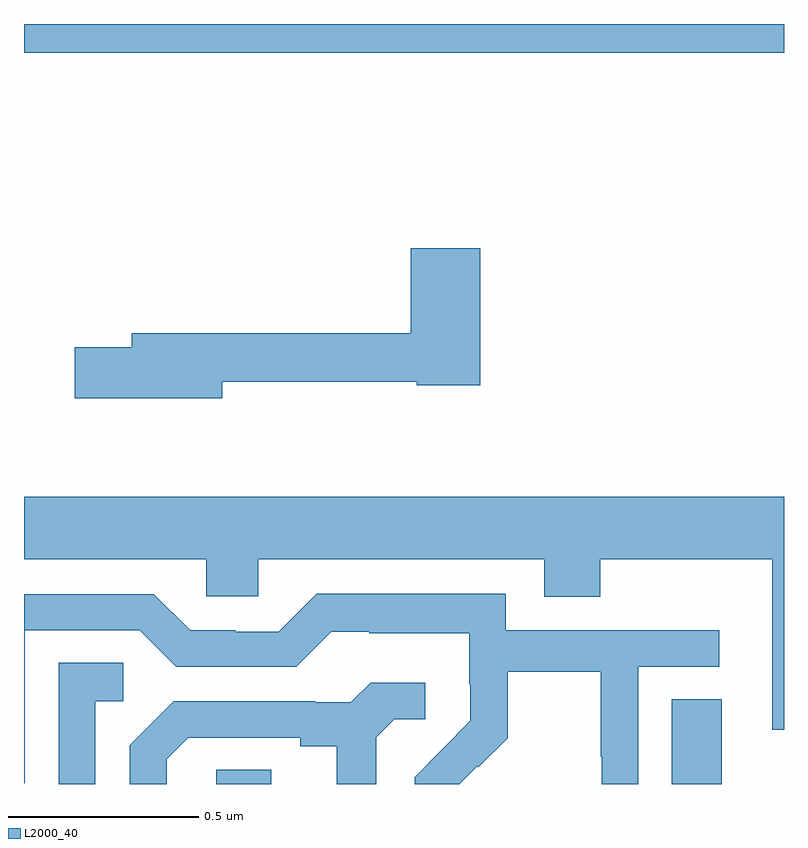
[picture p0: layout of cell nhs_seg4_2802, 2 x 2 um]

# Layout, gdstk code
import gdstk
lib = gdstk.Library(unit=1e-6, precision=1e-09)
def R(c, l, rs):  # rectangles x0, y0, x1, y1
    for r in rs: c.add(gdstk.rectangle(r[:2], r[2:], *l))
def P(c, l, *ps):  # polygons
    for p in ps: c.add(gdstk.Polygon(p, *l))
L2000_40 = (2000, 40)

nhs_seg4_2802 = lib.new_cell('nhs_seg4_2802')
R(nhs_seg4_2802, L2000_40, [(145.506,790.9,145.651,790.937), (146.705,790.9,146.836,791.123), (145,792.824,147,792.9)])
P(nhs_seg4_2802, L2000_40, [(145.522,791.958),(146.034,791.958),(146.034,791.95),(146.201,791.95),(146.201,792.31),(146.018,792.31),(146.018,792.086),(145.283,792.086),(145.283,792.05),(145.134,792.05),(145.134,791.915),(145.522,791.915)],
  [(147,791.656),(145,791.656),(145,791.492),(145.479,791.492),(145.479,791.394),(145.617,791.394),(145.617,791.492),(146.369,791.492),(146.369,791.393),(146.517,791.393),(146.517,791.492),(146.969,791.492),(146.969,791.043),(147,791.043)],
  [(146.193,790.947),(146.196,790.944),(146.273,791.021),(146.273,791.196),(146.518,791.196),(146.518,790.972),(146.52,790.972),(146.52,790.9),(146.616,790.9),(146.616,791.208),(146.83,791.208),(146.83,791.304),(146.268,791.304),(146.268,791.401),(145.771,791.401),(145.671,791.301),(145.556,791.301),(145.556,791.304),(145.437,791.304),(145.341,791.4),(145,791.4),(145,790.902),(145.002,790.902),(145.002,791.304),(145.305,791.304),(145.401,791.208),(145.716,791.208),(145.809,791.301),(145.909,791.301),(145.909,791.297),(146.172,791.297),(146.172,791.163),(146.174,791.163),(146.174,791.066),(146.1,790.992),(146.101,790.991),(146.028,790.918),(146.028,790.9),(146.146,790.9)],
  [(145.188,791.118),(145.261,791.118),(145.261,791.219),(145.092,791.219),(145.092,790.9),(145.188,790.9)],
  [(145.375,790.965),(145.432,791.022),(145.727,791.022),(145.727,791),(145.823,791),(145.823,790.9),(145.927,790.9),(145.927,791.023),(145.974,791.07),(146.056,791.07),(146.056,791.167),(145.912,791.167),(145.86,791.115),(145.766,791.115),(145.766,791.118),(145.394,791.118),(145.278,791.002),(145.278,790.9),(145.375,790.9)])

lib.write_gds('nhs_seg4_2802.gds')
